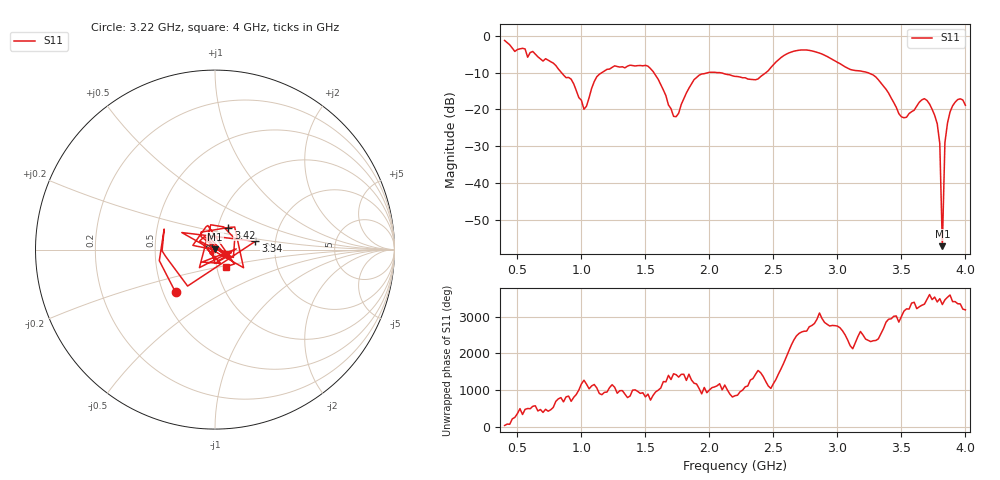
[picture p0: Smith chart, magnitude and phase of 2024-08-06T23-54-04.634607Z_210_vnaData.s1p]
!Created with skrf (http://scikit-rf.org).
# Hz S RI R 50.0
!freq ReS11 ImS11
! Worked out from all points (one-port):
!   181 points, 400 MHz to 4 GHz, reference 50 ohm
!   lowest |S11| = -57.3 dB at 3.82 GHz (marker M1), VSWR 1.00, Z = 50 + j0.137 ohm
!   |S11| at or under -10 dB: 1.567 GHz to 1.986 GHz (419.3 MHz wide, 23.6 % of centre); 2.087 GHz to 2.44 GHz (352.7 MHz wide, 15.6 % of centre); 3.24 GHz to end of sweep (the widest 3 of 4)
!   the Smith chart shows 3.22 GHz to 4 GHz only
!   S11 on the Smith chart (normalised r, x): 3.22 GHz: 0.58, -0.31; 3.34 GHz: 1.57, +0.15; 3.42 GHz: 1.12, +0.28; 4 GHz: 1.11, -0.21
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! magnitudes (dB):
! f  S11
! 400 MHz  -1.2
! 860 MHz  -10.6
! 920 MHz  -11.7
! 1.02 GHz  -19.9
! 1.12 GHz  -11.1
! 1.3 GHz  -8.4
! 1.52 GHz  -8.2
! 1.6 GHz  -11.8
! 1.72 GHz  -21.9
! 1.76 GHz  -21.0
! 1.92 GHz  -10.6
! 2.2 GHz  -11.0
! 2.38 GHz  -11.7
! 2.66 GHz  -4.1
! 3.1 GHz  -9.1
! 3.22 GHz  -9.8
! 3.34 GHz  -12.8
! 3.42 GHz  -16.9
! 3.5 GHz  -22.0
! 3.56 GHz  -21.1
! 3.68 GHz  -17.1
! 3.78 GHz  -23.9
! 3.8 GHz  -29.3
! 3.82 GHz  -57.3
! 3.84 GHz  -29.0
! 3.86 GHz  -23.7
! 3.94 GHz  -17.3
! 4 GHz  -18.9
